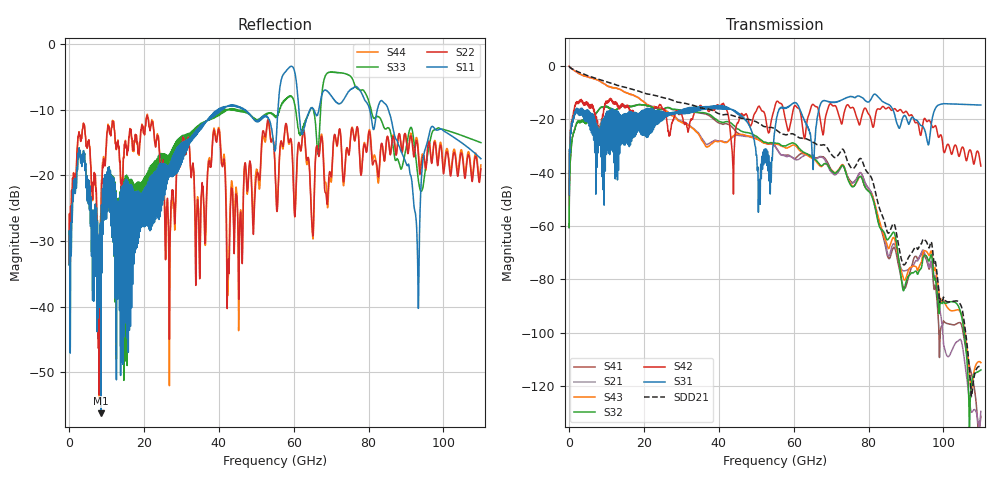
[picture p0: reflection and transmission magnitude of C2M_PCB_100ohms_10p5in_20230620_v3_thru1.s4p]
! Info: Touchstone file created by Circ.  Input file=C2M_PCB_100ohms_10p5in_20230620_v3.circ
# Hz S RI R 50
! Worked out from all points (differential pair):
!   11000 points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, 10 MHz to 110 GHz, reference 50 ohm
!   strongest paths, dB at 10 MHz, 27.51 GHz, 55.01 GHz, 82.51 GHz, 110 GHz:
!     S31: -48.3, -17.8, -23.6, -11.6, -14.7
!     S42: -48.2, -21.6, -15.1, -16.1, -37.6
!     S32: -60.6, -16.2, -29.0, -58.3, -113.9
!     S43: -0.2, -18.7, -29.3, -56.3, -111.2
!     S21: -0.2, -18.4, -30.0, -58.1, -129.5
!     S41: -60.6, -16.4, -30.1, -57.2, -131.3
!   taken as a pair (ports 3,1 in; 4,2 out), SDD21 dB: -0.2, -12.9, -23.6, -51.4, -113.2
!   lowest |S11| = -56.2 dB at 8.5 GHz (marker M1), VSWR 1.00, Z = 49.9 + j0.135 ohm
!   |S11| at or under -10 dB: start of sweep to 39.86 GHz; 47.03 GHz to 55.79 GHz (8.76 GHz wide, 17 % of centre); 85.27 GHz to end of sweep (the widest 3 of 11)
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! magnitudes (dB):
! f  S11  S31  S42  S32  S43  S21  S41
! 10 MHz  -33.7  -48.3  -48.2  -60.6  -0.2  -0.2  -60.6
! 8.5 GHz  -56.2  -34.1  -23.6  -15.6  -6.0  -6.0  -15.6
! 42.72 GHz  -9.4  -16.2  -20.0  -21.0  -28.0  -28.0  -22.0
! 50.84 GHz  -11.6  -46.2  -15.2  -27.4  -27.9  -27.6  -28.0
! 60.05 GHz  -3.8  -13.9  -15.5  -29.0  -29.7  -34.8  -34.8
! 89.21 GHz  -17.0  -19.3  -17.6  -84.0  -79.3  -76.8  -82.6
! 110 GHz  -17.5  -14.7  -37.6  -113.9  -111.2  -129.5  -131.3
